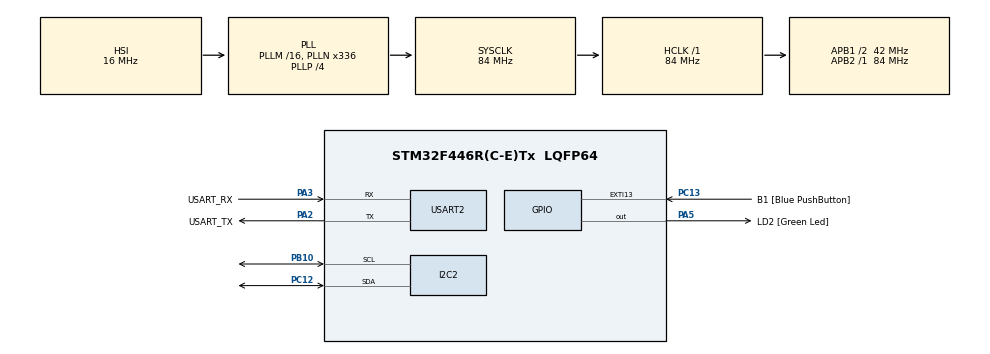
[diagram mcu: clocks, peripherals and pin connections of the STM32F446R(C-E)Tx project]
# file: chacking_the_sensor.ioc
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FREERTOS.Tasks01=defaultTask,24,128,StartDefaultTask,Default,NULL,Dynamic,NULL,NULL;sensorTask,24,256,sensorTask_1,Default,NULL,Dynamic,NULL,NULL;loggingTask,16,256,loggingTask_02,Default,NULL,Dynamic,NULL,NULL;heartbeatTask,8,128,heartbeatTask_3,Default,NULL,Dynamic,NULL,NULL;Ring_buffout,8,128,Ring_buffout04,Default,NULL,Dynamic,NULL,NULL;myTask06,48,128,highPrioTask_06,Default,NULL,Dynamic,NULL,NULL;medPrioTask,40,128,medPrioTask07,Default,NULL,Dynamic,NULL,NULL;lowPrioTask,32,128,lowPrioTask08,Default,NULL,Dynamic,NULL,NULL
FREERTOS.configUSE_NEWLIB_REENTRANT=1
Mcu.Family=STM32F4
Mcu.Name=STM32F446R(C-E)Tx
Mcu.Package=LQFP64
NVIC.PriorityGroup=NVIC_PRIORITYGROUP_4
NVIC.TIM6_DAC_IRQn=true\:15\:0\:false\:false\:true\:false\:false\:true\:true
NVIC.TimeBase=TIM6_DAC_IRQn
NVIC.TimeBaseIP=TIM6
NVIC.USART2_IRQn=true\:5\:0\:false\:false\:true\:true\:true\:true\:true
PA13.GPIO_Label=TMS
PA13.Mode=Serial_Wire
PA13.Signal=SYS_JTMS-SWDIO
PA14.GPIO_Label=TCK
PA14.Mode=Serial_Wire
PA14.Signal=SYS_JTCK-SWCLK
PA2.GPIO_Label=USART_TX
PA2.Mode=Asynchronous
PA2.Signal=USART2_TX
PA3.GPIO_Label=USART_RX
PA3.Mode=Asynchronous
PA3.Signal=USART2_RX
PA5.GPIO_Label=LD2 [Green Led]
PA5.Signal=GPIO_Output
PB10.Mode=I2C
PB10.Signal=I2C2_SCL
PB3.GPIO_Label=SWO
PB3.Signal=SYS_JTDO-SWO
PC12.Mode=I2C
PC12.Signal=I2C2_SDA
PC13.GPIO_Label=B1 [Blue PushButton]
PC13.GPIO_ModeDefaultEXTI=GPIO_MODE_IT_FALLING
PC13.Signal=GPXTI13
PC14-OSC32_IN.Mode=LSE-External-Oscillator
PC14-OSC32_IN.Signal=RCC_OSC32_IN
PC15-OSC32_OUT.Mode=LSE-External-Oscillator
PC15-OSC32_OUT.Signal=RCC_OSC32_OUT
PH0-OSC_IN.Mode=HSE-External-Oscillator
PH0-OSC_IN.Signal=RCC_OSC_IN
PH1-OSC_OUT.Mode=HSE-External-Oscillator
PH1-OSC_OUT.Signal=RCC_OSC_OUT
ProjectManager.HeapSize=0x200
ProjectManager.StackSize=0x400
ProjectManager.TargetToolchain=STM32CubeIDE
RCC.48MHZClocksFreq_Value=84000000
RCC.AHBFreq_Value=84000000
RCC.APB1CLKDivider=RCC_HCLK_DIV2
RCC.APB1Freq_Value=42000000
RCC.APB1TimFreq_Value=84000000
RCC.APB2Freq_Value=84000000
RCC.APB2TimFreq_Value=84000000
RCC.CortexFreq_Value=84000000
RCC.FLatency-AdvancedSettings=FLASH_LATENCY_2
RCC.HCLKFreq_Value=84000000
RCC.HSE_VALUE=8000000
RCC.HSI_VALUE=16000000
RCC.PLLN=336
RCC.PLLP=RCC_PLLP_DIV4
RCC.SYSCLKFreq_VALUE=84000000
RCC.SYSCLKSource=RCC_SYSCLKSOURCE_PLLCLK
RCC.USBFreq_Value=168000000
RCC.VCOOutputFreq_Value=336000000
USART2.VirtualMode=VM_ASYNC
VP_FREERTOS_VS_CMSIS_V2.Mode=CMSIS_V2
VP_SYS_VS_tim6.Mode=TIM6
board=NUCLEO-F446RE

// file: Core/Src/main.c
/* USER CODE BEGIN Header */
/**
 ******************************************************************************
 * @file           : main.c
 * @brief          : Main program body
 ******************************************************************************
 * @attention
 *
 * Copyright (c) 2026 STMicroelectronics.
 * All rights reserved.
 *
 * This software is licensed under terms that can be found in the LICENSE file
 * in the root directory of this software component.
 * If no LICENSE file comes with this software, it is provided AS-IS.
 *
 ******************************************************************************
 */
/* USER CODE END Header */
#include "main.h"
#include "cmsis_os.h"

/* USER CODE BEGIN Includes */
#include <stdio.h>
#include "BME280.h"
#include <string.h>
/* USER CODE END Includes */

/* USER CODE BEGIN PD */
#define BUFFER_SIZE 10
/* USER CODE END PD */

I2C_HandleTypeDef hi2c2;

UART_HandleTypeDef huart2;

/* Definitions for defaultTask */
osThreadId_t defaultTaskHandle;
const osThreadAttr_t defaultTask_attributes = {
  .name = "defaultTask",
  .stack_size = 128 * 4,
  .priority = (osPriority_t) osPriorityNormal,
};
/* Definitions for sensorTask */
osThreadId_t sensorTaskHandle;
const osThreadAttr_t sensorTask_attributes = {
  .name = "sensorTask",
  .stack_size = 256 * 4,
  .priority = (osPriority_t) osPriorityNormal,
};
/* Definitions for loggingTask */
osThreadId_t loggingTaskHandle;
const osThreadAttr_t loggingTask_attributes = {
  .name = "loggingTask",
  .stack_size = 256 * 4,
  .priority = (osPriority_t) osPriorityBelowNormal,
};
/* Definitions for heartbeatTask */
osThreadId_t heartbeatTaskHandle;
const osThreadAttr_t heartbeatTask_attributes = {
  .name = "heartbeatTask",
  .stack_size = 128 * 4,
  .priority = (osPriority_t) osPriorityLow,
};
/* Definitions for Ring_buffout */
osThreadId_t Ring_buffoutHandle;
const osThreadAttr_t Ring_buffout_attributes = {
  .name = "Ring_buffout",
  .stack_size = 128 * 4,
  .priority = (osPriority_t) osPriorityLow,
};
/* Definitions for myTask06 */
osThreadId_t myTask06Handle;
const osThreadAttr_t myTask06_attributes = {
  .name = "myTask06",
  .stack_size = 128 * 4,
  .priority = (osPriority_t) osPriorityRealtime,
};
/* Definitions for medPrioTask */
osThreadId_t medPrioTaskHandle;
const osThreadAttr_t medPrioTask_attributes = {
  .name = "medPrioTask",
  .stack_size = 128 * 4,
  .priority = (osPriority_t) osPriorityHigh,
};
/* Definitions for lowPrioTask */
osThreadId_t lowPrioTaskHandle;
const osThreadAttr_t lowPrioTask_attributes = {
  .name = "lowPrioTask",
  .stack_size = 128 * 4,
  .priority = (osPriority_t) osPriorityAboveNormal,
};
/* USER CODE BEGIN PV */
float Temperature_value, Pressure_value, Humidity_value;
volatile uint8_t flag_for_Confirmation, empty_flag;

osMutexId_t dataMutexHandle;
const osMutexAttr_t dataMutex_attributes = {
		.name = "dataMutex"
};

/* USER CODE END PV */

void SystemClock_Config(void);
static void MX_GPIO_Init(void);
static void MX_USART2_UART_Init(void);
static void MX_I2C2_Init(void);
void StartDefaultTask(void *argument);
void sensorTask_1(void *argument);
void loggingTask_02(void *argument);
void heartbeatTask_3(void *argument);
void Ring_buffout04(void *argument);
void highPrioTask_06(void *argument);
void medPrioTask07(void *argument);
void lowPrioTask08(void *argument);

/* USER CODE BEGIN PFP */
uint8_t get_ring(void);
void put_ring(uint8_t value);
/* USER CODE END PFP */

/* USER CODE BEGIN 0 */
volatile uint8_t rx_counter=0;
uint8_t RingBuffer[BUFFER_SIZE];
uint8_t rx_buffer,txcounter=0,Value_print_flag=0;
/* USER CODE END 0 */

int main(void)
{

  /* MCU Configuration--------------------------------------------------------*/

  /* Reset of all peripherals, Initializes the Flash interface and the Systick. */
  HAL_Init();

  /* Configure the system clock */
  SystemClock_Config();

  /* Initialize all configured peripherals */
  MX_GPIO_Init();
  MX_USART2_UART_Init();
  MX_I2C2_Init();
  /* USER CODE BEGIN 2 */
	//	setvbuf(stdout, NULL, _IONBF, 0);
	//	//  int count = 0;
	//	BME280_Init(&hi2c2);
	//	HAL_Delay(100);

	HAL_UART_Receive_IT(&huart2, &rx_buffer, 1);
  /* USER CODE END 2 */

  /* Init scheduler */
  osKernelInitialize();

  /* USER CODE BEGIN RTOS_MUTEX */
	/* add mutexes, ... */
	dataMutexHandle = osMutexNew(&dataMutex_attributes);

  /* USER CODE END RTOS_MUTEX */

  /* Create the thread(s) */
  /* creation of defaultTask */
  defaultTaskHandle = osThreadNew(StartDefaultTask, NULL, &defaultTask_attributes);

  /* creation of sensorTask */
  sensorTaskHandle = osThreadNew(sensorTask_1, NULL, &sensorTask_attributes);

  /* creation of loggingTask */
  loggingTaskHandle = osThreadNew(loggingTask_02, NULL, &loggingTask_attributes);

  /* creation of heartbeatTask */
  heartbeatTaskHandle = osThreadNew(heartbeatTask_3, NULL, &heartbeatTask_attributes);

  /* creation of Ring_buffout */
  Ring_buffoutHandle = osThreadNew(Ring_buffout04, NULL, &Ring_buffout_attributes);

  /* creation of myTask06 */
  myTask06Handle = osThreadNew(highPrioTask_06, NULL, &myTask06_attributes);

  /* creation of medPrioTask */
  medPrioTaskHandle = osThreadNew(medPrioTask07, NULL, &medPrioTask_attributes);

  /* creation of lowPrioTask */
  lowPrioTaskHandle = osThreadNew(lowPrioTask08, NULL, &lowPrioTask_attributes);

  /* Start scheduler */
  osKernelStart();

  /* We should never get here as control is now taken by the scheduler */

  /* Infinite loop */
	while (1)
	{

	}
}

void SystemClock_Config(void)
{
  RCC_OscInitTypeDef RCC_OscInitStruct = {0};
  RCC_ClkInitTypeDef RCC_ClkInitStruct = {0};

  /** Configure the main internal regulator output voltage
  */
  __HAL_RCC_PWR_CLK_ENABLE();
  __HAL_PWR_VOLTAGESCALING_CONFIG(PWR_REGULATOR_VOLTAGE_SCALE3);

  /** Initializes the RCC Oscillators according to the specified parameters
  * in the RCC_OscInitTypeDef structure.
  */
  RCC_OscInitStruct.OscillatorType = RCC_OSCILLATORTYPE_HSI;
  RCC_OscInitStruct.HSIState = RCC_HSI_ON;
  RCC_OscInitStruct.HSICalibrationValue = RCC_HSICALIBRATION_DEFAULT;
  RCC_OscInitStruct.PLL.PLLState = RCC_PLL_ON;
  RCC_OscInitStruct.PLL.PLLSource = RCC_PLLSOURCE_HSI;
  RCC_OscInitStruct.PLL.PLLM = 16;
  RCC_OscInitStruct.PLL.PLLN = 336;
  RCC_OscInitStruct.PLL.PLLP = RCC_PLLP_DIV4;
  RCC_OscInitStruct.PLL.PLLQ = 2;
  RCC_OscInitStruct.PLL.PLLR = 2;
  if (HAL_RCC_OscConfig(&RCC_OscInitStruct) != HAL_OK)
  {
    Error_Handler();
  }

  /** Initializes the CPU, AHB and APB buses clocks
  */
  RCC_ClkInitStruct.ClockType = RCC_CLOCKTYPE_HCLK|RCC_CLOCKTYPE_SYSCLK
                              |RCC_CLOCKTYPE_PCLK1|RCC_CLOCKTYPE_PCLK2;
  RCC_ClkInitStruct.SYSCLKSource = RCC_SYSCLKSOURCE_PLLCLK;
  RCC_ClkInitStruct.AHBCLKDivider = RCC_SYSCLK_DIV1;
  RCC_ClkInitStruct.APB1CLKDivider = RCC_HCLK_DIV2;
  RCC_ClkInitStruct.APB2CLKDivider = RCC_HCLK_DIV1;

  if (HAL_RCC_ClockConfig(&RCC_ClkInitStruct, FLASH_LATENCY_2) != HAL_OK)
  {
    Error_Handler();
  }
}

static void MX_I2C2_Init(void)
{

  hi2c2.Instance = I2C2;
  hi2c2.Init.ClockSpeed = 100000;
  hi2c2.Init.DutyCycle = I2C_DUTYCYCLE_2;
  hi2c2.Init.OwnAddress1 = 0;
  hi2c2.Init.AddressingMode = I2C_ADDRESSINGMODE_7BIT;
  hi2c2.Init.DualAddressMode = I2C_DUALADDRESS_DISABLE;
  hi2c2.Init.OwnAddress2 = 0;
  hi2c2.Init.GeneralCallMode = I2C_GENERALCALL_DISABLE;
  hi2c2.Init.NoStretchMode = I2C_NOSTRETCH_DISABLE;
  if (HAL_I2C_Init(&hi2c2) != HAL_OK)
  {
    Error_Handler();
  }

}

static void MX_USART2_UART_Init(void)
{

  huart2.Instance = USART2;
  huart2.Init.BaudRate = 115200;
  huart2.Init.WordLength = UART_WORDLENGTH_8B;
  huart2.Init.StopBits = UART_STOPBITS_1;
  huart2.Init.Parity = UART_PARITY_NONE;
  huart2.Init.Mode = UART_MODE_TX_RX;
  huart2.Init.HwFlowCtl = UART_HWCONTROL_NONE;
  huart2.Init.OverSampling = UART_OVERSAMPLING_16;
  if (HAL_UART_Init(&huart2) != HAL_OK)
  {
    Error_Handler();
  }

}

static void MX_GPIO_Init(void)
{
  GPIO_InitTypeDef GPIO_InitStruct = {0};

  /* GPIO Ports Clock Enable */
  __HAL_RCC_GPIOC_CLK_ENABLE();
  __HAL_RCC_GPIOH_CLK_ENABLE();
  __HAL_RCC_GPIOA_CLK_ENABLE();
  __HAL_RCC_GPIOB_CLK_ENABLE();

  /*Configure GPIO pin Output Level */
  HAL_GPIO_WritePin(LD2_GPIO_Port, LD2_Pin, GPIO_PIN_RESET);

  /*Configure GPIO pin : B1_Pin */
  GPIO_InitStruct.Pin = B1_Pin;
  GPIO_InitStruct.Mode = GPIO_MODE_IT_FALLING;
  GPIO_InitStruct.Pull = GPIO_NOPULL;
  HAL_GPIO_Init(B1_GPIO_Port, &GPIO_InitStruct);

  /*Configure GPIO pin : LD2_Pin */
  GPIO_InitStruct.Pin = LD2_Pin;
  GPIO_InitStruct.Mode = GPIO_MODE_OUTPUT_PP;
  GPIO_InitStruct.Pull = GPIO_NOPULL;
  GPIO_InitStruct.Speed = GPIO_SPEED_FREQ_LOW;
  HAL_GPIO_Init(LD2_GPIO_Port, &GPIO_InitStruct);

}

/* USER CODE BEGIN 4 */
int __io_putchar(int ch)
{
	// send the single byte 'ch' out USART2 here
	HAL_UART_Transmit(&huart2, (uint8_t *)&ch, 1, HAL_MAX_DELAY);
	return ch;
}

void HAL_UART_RxCpltCallback(UART_HandleTypeDef *huart)
{
	if((rx_buffer == '\n')||(rx_buffer == '\r'))
	{
		rx_buffer='\0';
		put_ring(rx_buffer);
	}
	else
	{
		put_ring(rx_buffer);
	}

	HAL_UART_Receive_IT(&huart2, &rx_buffer, 1);
}

void put_ring(uint8_t value)
{

	//	rx_counter = rx_counter%BUFFER_SIZE;
//	if(txcounter!=rx_counter)
//		RingBuffer[rx_counter] = value;
//	//	rx_counter++;
//	rx_counter = (rx_counter + 1) % BUFFER_SIZE;
	RingBuffer[rx_counter] = value;
	rx_counter = (rx_counter + 1) % BUFFER_SIZE;
}

uint8_t get_ring(void)
{
	uint8_t value;

	value = RingBuffer[txcounter];
	txcounter = (txcounter + 1) % BUFFER_SIZE;
	return value;
}
/* USER CODE END 4 */

void StartDefaultTask(void *argument)
{
	for(;;)
	{
		osDelay(1);
	}
}

void sensorTask_1(void *argument)
{
  /* USER CODE BEGIN sensorTask_1 */
	float temp, hum, press;
	setvbuf(stdout, NULL, _IONBF, 0);
	//  int count = 0;
	BME280_Init(&hi2c2);
	HAL_Delay(100);

	/* Infinite loop */
	for(;;)
	{
		//*********Always keep the temperature value first as t_fine is calculated there and it is used Hmidity and Pressure calculation
		temp = (float)(BME_Temperature_Calculation(&hi2c2)/100.0);
		press = (float)(BME_Pressure_Calculation(&hi2c2)/256.0);
		hum = (float)(BME_Humidity_Calculation(&hi2c2)/1024.0);
		osMutexAcquire(dataMutexHandle, osWaitForever);

		Temperature_value = temp;
		Pressure_value = press;
		Humidity_value = hum;

		osMutexRelease(dataMutexHandle);
		flag_for_Confirmation = 1;
		osDelay(1000);
	}
  /* USER CODE END sensorTask_1 */
}

void loggingTask_02(void *argument)
{
  /* USER CODE BEGIN loggingTask_02 */
	float temp, hum, press;
	//	uint8_t update_flag;
	setvbuf(stdout, NULL, _IONBF, 0);
	/* Infinite loop */
	for(;;)
	{
		osMutexAcquire(dataMutexHandle, osWaitForever);

		temp = Temperature_value;
		press = Pressure_value;
		hum = Humidity_value;
		osMutexRelease(dataMutexHandle);
		if(Value_print_flag==1)
		{
			printf("Temperature: %f\r\n",temp);
			printf("Pressure: %f\r\n",press);
			printf("Humidity: %f\r\n",hum);
			Value_print_flag=0;
		}
		osDelay(1000);

	}
  /* USER CODE END loggingTask_02 */
}

void heartbeatTask_3(void *argument)
{
  /* USER CODE BEGIN heartbeatTask_3 */
	/* Infinite loop */
	for(;;)
	{
		if(flag_for_Confirmation)
		{
			HAL_GPIO_WritePin(LD2_GPIO_Port, LD2_Pin, GPIO_PIN_SET);
			flag_for_Confirmation=0;
			osDelay(100);
			HAL_GPIO_WritePin(LD2_GPIO_Port, LD2_Pin, GPIO_PIN_RESET);
			osDelay(900);
		}
		osDelay(1000);

	}
  /* USER CODE END heartbeatTask_3 */
}

void Ring_buffout04(void *argument)
{
  for(;;)
  {
    osDelay(1);
  }
}

void highPrioTask_06(void *argument)
{
  /* USER CODE BEGIN highPrioTask_06 */
	setvbuf(stdout, NULL, _IONBF, 0);
  /* Infinite loop */
  for(;;)
  {
	  printf("[High]\r\n");
	  osDelay(1000);
  }
  /* USER CODE END highPrioTask_06 */
}

void medPrioTask07(void *argument)
{
  /* USER CODE BEGIN medPrioTask07 */
	setvbuf(stdout, NULL, _IONBF, 0);
  /* Infinite loop */
  for(;;)
  {
	  printf("[Mid]\r\n");
	  osDelay(1000);
  }
  /* USER CODE END medPrioTask07 */
}

void lowPrioTask08(void *argument)
{
  /* USER CODE BEGIN lowPrioTask08 */
	setvbuf(stdout, NULL, _IONBF, 0);
  /* Infinite loop */
  for(;;)
  {
	  printf("[LOW]\r\n");
	  osDelay(1000);
  }
  /* USER CODE END lowPrioTask08 */
}

void HAL_TIM_PeriodElapsedCallback(TIM_HandleTypeDef *htim)
{
  if (htim->Instance == TIM6)
  {
    HAL_IncTick();
  }
}

void Error_Handler(void)
{
	__disable_irq();
	while (1)
	{
	}
}
